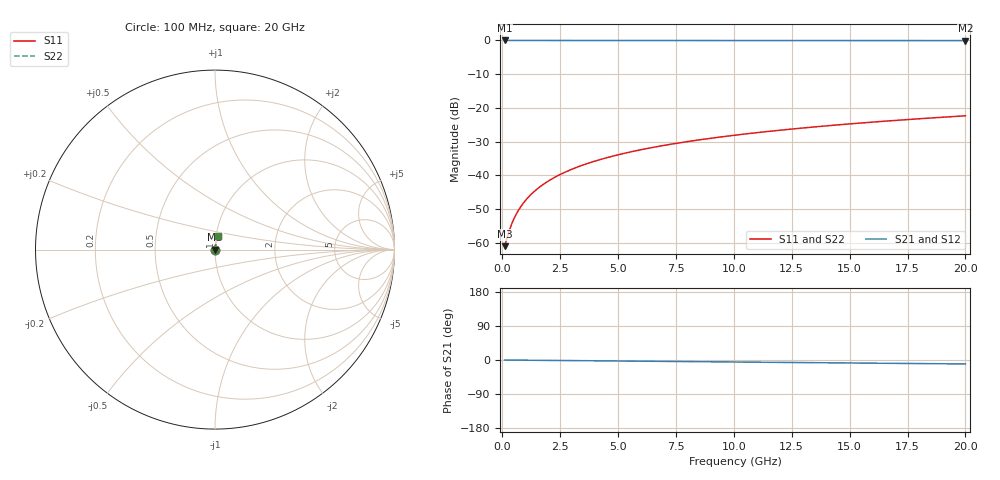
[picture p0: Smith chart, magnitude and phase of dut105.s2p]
! Touchstone file exported from HFSS 2026.1.0
!  File:  C:/ffzhzh/LocalFiles/Ansys_Project_Files/temp_train_TSV_105_1782989556_42984.aedt
!  Generated:  06:54:36 PM Jul  2, 2026
!  Design:  TSV
!  Project:  temp_train_TSV_105_1782989556_42984
! Variables:
!  h_bsmrdl = 2um
!  h_ox = 20um
!  h_rdl = 5um
!  h_sub = 99.32um
!  h_tmrdl = 5um
!  h_tsv = 99.32um
!  h_via = 3um
!  l_bsmrdl = 300um
!  l_sub = 407.76um
!  l_tmrdl = 200um
!  m_sub = 200um
!  pitch = 31.51um
!  r_tsv = 3.88um
!  s_tmrdl = 10um
!  w_bsmrdl = 18um
!  w_sub = 500um
!  w_tmrdl = 12um
!  x_tsv_center1 = 206um
!  x_tsv_center2 = 524um
!  x_tsv_center3 = 736um
!  x_tsv_center4 = 1054um
!  x_tsv_center5 = 1266um
!  x_tsv_center6 = 1584um
# GHz S MA R 50.000000
! Terminal data exported
! Port[1] = TSV1_1_T1
! Port[2] = TSV1_1_T2
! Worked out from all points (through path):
!   200 points, 100 MHz to 20 GHz, reference 50 ohm
!   highest |S21| = -0.01 dB at 100 MHz (marker M1); lowest = -0.1 dB at 20 GHz (marker M2)
!   group delay of S21, straight-line fit = 1.44 ps
!   lowest |S11| = -61.0 dB at 100 MHz (marker M3), VSWR 1.00, Z = 50.1 + j0.043 ohm
!   |S11| at or under -10 dB: start of sweep to end of sweep
!   |S22| runs from -61.0 to -22.4 dB; largest |S21 - S12| = 3.6e-15
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0.1  0.0008892 28.9  0.9992 -0.1  0.9992 -0.1  0.0008892 28.9
! Gamma 0 0 0 0
! Port Impedance 50 0 50 0
0.3  0.001506 57.5  0.9992 -0.2  0.9992 -0.2  0.001506 57.5
0.4  0.001875 63.9  0.9992 -0.2  0.9992 -0.2  0.001875 63.9
0.5  0.002257 68.1  0.9992 -0.3  0.9992 -0.3  0.002257 68.1
0.6  0.002645 71.1  0.9992 -0.3  0.9992 -0.3  0.002645 71.1
0.7  0.003038 73.3  0.9991 -0.4  0.9991 -0.4  0.003038 73.3
0.9  0.003833 76.3  0.9991 -0.5  0.9991 -0.5  0.003833 76.3
1.2  0.005038 79.0  0.9991 -0.6  0.9991 -0.6  0.005038 79.0
1.4  0.005844 80.1  0.999 -0.8  0.999 -0.8  0.005844 80.1
1.7  0.007056 81.2  0.999 -0.9  0.999 -0.9  0.007056 81.2
2.2  0.009073 82.2  0.9989 -1.2  0.9989 -1.2  0.009073 82.2
2.8  0.01148 82.8  0.9988 -1.5  0.9988 -1.5  0.01148 82.8
3.5  0.01426 83.0  0.9986 -1.9  0.9986 -1.9  0.01426 83.0
4.2  0.01702 83.0  0.9984 -2.2  0.9984 -2.2  0.01702 83.0
5  0.02014 82.9  0.9982 -2.7  0.9982 -2.7  0.02014 82.9
5.9  0.02362 82.7  0.998 -3.1  0.998 -3.1  0.02362 82.7
6.8  0.02706 82.4  0.9977 -3.6  0.9977 -3.6  0.02706 82.4
8.3  0.03276 81.9  0.9973 -4.4  0.9973 -4.4  0.03276 81.9
10.1  0.03955 81.3  0.9969 -5.3  0.9969 -5.3  0.03955 81.3
13.4  0.05189 80.0  0.996 -7.0  0.996 -7.0  0.05189 80.0
16.7  0.06414 78.6  0.9949 -8.7  0.9949 -8.7  0.06414 78.6
20  0.07626 77.1  0.9938 -10.4  0.9938 -10.4  0.07626 77.1
